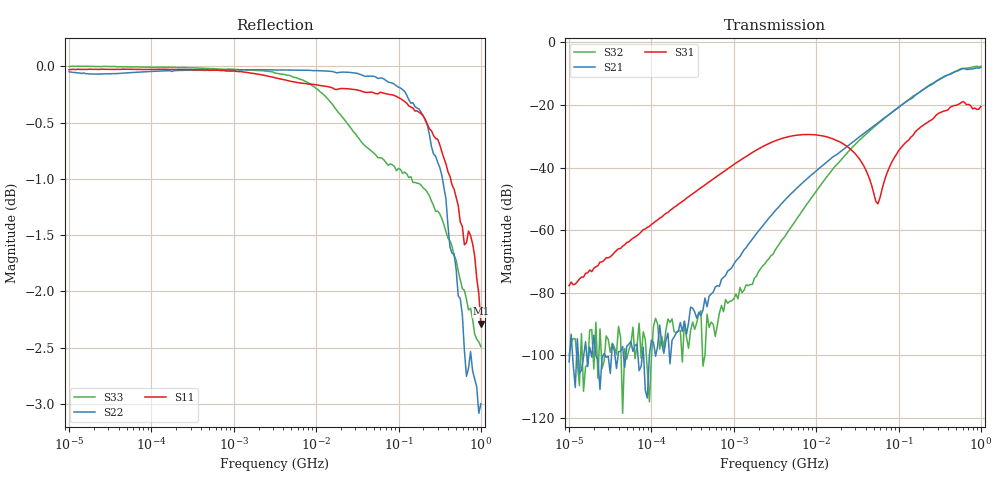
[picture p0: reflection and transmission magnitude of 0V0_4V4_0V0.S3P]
!Keysight Technologies,E5080A,MY55100144,A.11.70.03
!Date: Monday, November 13, 2017 17:25:15
!Correction: S11(Full 3 Port(1,2,3))
!S12(Full 3 Port(1,2,3))
!S13(Full 3 Port(1,2,3))
!S21(Full 3 Port(1,2,3))
!S22(Full 3 Port(1,2,3))
!S23(Full 3 Port(1,2,3))
!S31(Full 3 Port(1,2,3))
!S32(Full 3 Port(1,2,3))
!S33(Full 3 Port(1,2,3))
!S3P File: Measurements: <S11,S12,S13>,
!<S21,S22,S23>,
!<S31,S32,S33>:Log Frequency Sweep
# Hz S  RI  R 50
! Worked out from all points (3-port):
!   201 points, 10 kHz to 1 GHz, reference 50 ohm
!   strongest paths, dB at 10 kHz, 177.8 kHz, 3.162 MHz, 56.23 MHz, 1 GHz:
!     S31: -77.8, -53.2, -31.5, -51.6, -20.5
!     S21: -102.1, -95.2, -53.9, -25.7, -8.0
!     S32: -100.0, -88.4, -66.5, -26.0, -7.6
!   lowest |S11| = -2.3 dB at 1 GHz (marker M1), VSWR 7.64, Z = 382 + j0.278 ohm
!   |S11| at or under -10 dB: nowhere
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10000  0.9965 -0.00575  3.05e-06 -1.61e-05  -1.12e-05 0.000123
       7.82e-06 -2.54e-07  0.4709 -0.8758  -4.12e-06 1.03e-05
       3.94e-06 0.000129  -6.1e-06 -7.87e-06  0.9997 -0.00245
50118.72  0.9964 -0.0287  1.45e-06 -1.3e-05  3.7e-06 0.000617
          -1.35e-05 -3.26e-06  -0.7914 -0.6001  -1.02e-05 6.28e-07
          3.3e-05 0.000631  7.49e-06 -4.38e-06  0.9993 -0.00564
595662.1  0.9401 -0.3288  -7.62e-05 4.97e-05  0.0016 0.00673
          -0.000102 6.77e-05  -0.9949 -0.054  -2.37e-05 2.87e-05
          0.00159 0.00674  -1.03e-05 1.7e-05  0.9958 -0.0574
3162278  0.098 -0.9834  -0.00132 0.00153  0.0207 0.0168
         -0.00131 0.00155  -0.9963 0.0046  -0.000407 0.000247
         0.0208 0.0166  -0.000405 0.000245  0.9501 -0.2891
2.113489e7  -0.9443 -0.2528  -0.00112 0.0192  0.0192 -0.0145
            -0.00103 0.0192  -0.9892 0.0981  -0.00852 0.0116
            0.0192 -0.0144  -0.00851 0.0116  -0.0181 -0.9485
5.623413e7  -0.9704 0.0576  0.00898 0.051  0.00254 0.00075
            0.00904 0.0511  -0.9531 0.2587  -0.00523 0.0499
            0.00252 0.000742  -0.00521 0.0499  -0.7608 -0.5006
1.059254e8  -0.9327 0.257  0.0376 0.0894  0.00786 0.0188
            0.0378 0.0894  -0.8607 0.4643  0.0232 0.0945
            0.00791 0.0187  0.0231 0.0944  -0.8952 -0.091
3.758374e8  -0.369 0.8266  0.2899 0.0331  0.0809 -0.00588
            0.2902 0.033  0.0975 0.868  0.2897 0.0578
            0.0809 -0.0059  0.2893 0.0578  -0.4872 0.6899
7.079458e8  0.4637 0.7063  0.1989 -0.3127  0.012 -0.1015
            0.1986 -0.313  0.6986 0.226  0.2464 -0.3032
            0.0121 -0.1014  0.2466 -0.3028  0.2565 0.736
1e9  0.7685 0.000149  -0.1002 -0.3851  -0.0568 -0.0757
     -0.1007 -0.3851  0.5908 -0.3903  -0.0457 -0.4147
     -0.0569 -0.0756  -0.0454 -0.4146  0.6826 0.3124
